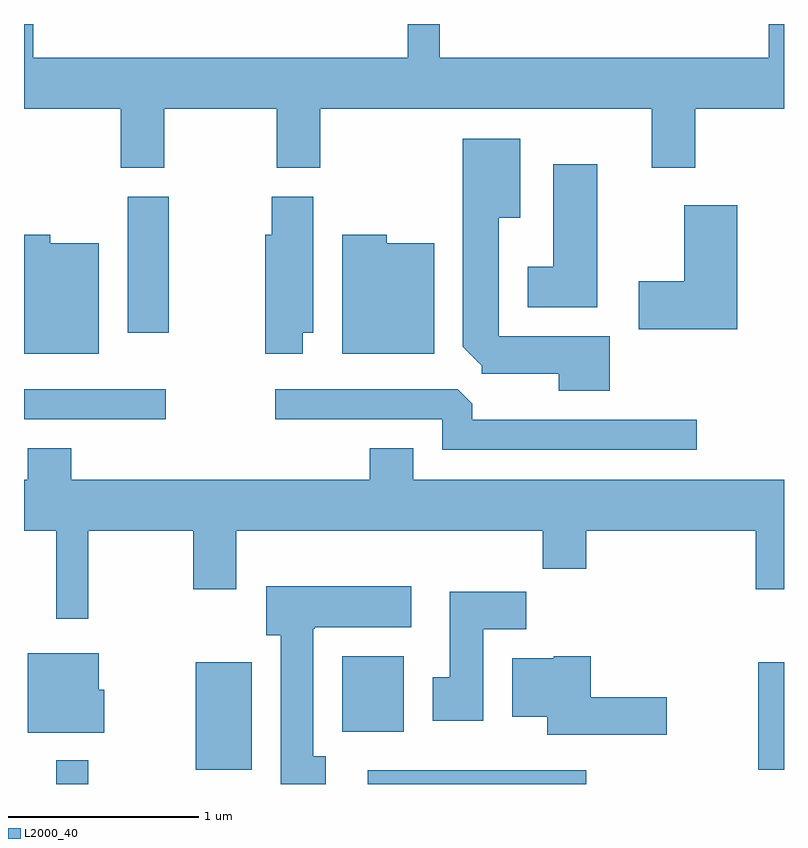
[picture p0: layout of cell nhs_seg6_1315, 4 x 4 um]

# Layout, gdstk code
import gdstk
lib = gdstk.Library(unit=1e-6, precision=1e-09)
def R(c, l, rs):  # rectangles x0, y0, x1, y1
    for r in rs: c.add(gdstk.rectangle(r[:2], r[2:], *l))
def P(c, l, *ps):  # polygons
    for p in ps: c.add(gdstk.Polygon(p, *l))
L2000_40 = (2000, 40)

nhs_seg6_1315 = lib.new_cell('nhs_seg6_1315')
R(nhs_seg6_1315, L2000_40, [(223.781,1644.162,223.949,1644.288), (225.421,1644.162,226.569,1644.234), (224.516,1644.236,224.809,1644.804), (227.476,1644.236,227.611,1644.804), (225.286,1644.436,225.609,1644.834), (223.611,1646.081,224.358,1646.239), (224.156,1646.536,224.374,1647.254)])
P(nhs_seg6_1315, L2000_40, [(224.349,1647.716),(224.941,1647.716),(224.941,1647.406),(225.169,1647.406),(225.169,1647.716),(226.916,1647.716),(226.916,1647.406),(227.144,1647.406),(227.144,1647.716),(227.611,1647.716),(227.611,1648.162),(227.531,1648.162),(227.531,1647.984),(225.799,1647.984),(225.799,1648.162),(225.631,1648.162),(225.631,1647.984),(223.659,1647.984),(223.659,1648.162),(223.611,1648.162),(223.611,1647.716),(224.121,1647.716),(224.121,1647.406),(224.349,1647.406)],
  [(226.694,1646.519),(226.109,1646.519),(226.109,1647.141),(226.224,1647.141),(226.224,1647.559),(225.921,1647.559),(225.921,1646.464),(226.021,1646.364),(226.021,1646.321),(226.426,1646.321),(226.426,1646.231),(226.694,1646.231)],
  [(226.629,1647.424),(226.396,1647.424),(226.396,1646.884),(226.261,1646.884),(226.261,1646.671),(226.629,1646.671)],
  [(225.079,1646.536),(225.134,1646.536),(225.134,1647.254),(224.916,1647.254),(224.916,1647.054),(224.881,1647.054),(224.881,1646.426),(225.079,1646.426)],
  [(227.364,1647.209),(227.086,1647.209),(227.086,1646.809),(226.846,1646.809),(226.846,1646.556),(227.364,1646.556)],
  [(224.004,1647.009),(223.749,1647.009),(223.749,1647.054),(223.611,1647.054),(223.611,1646.426),(224.004,1646.426)],
  [(225.769,1647.009),(225.519,1647.009),(225.519,1647.054),(225.286,1647.054),(225.286,1646.426),(225.769,1646.426)],
  [(227.153,1646.079),(225.969,1646.079),(225.969,1646.164),(225.894,1646.239),(224.933,1646.239),(224.933,1646.081),(225.811,1646.081),(225.811,1645.921),(227.153,1645.921)],
  [(223.949,1645.496),(224.501,1645.496),(224.501,1645.186),(224.729,1645.186),(224.729,1645.496),(226.341,1645.496),(226.341,1645.296),(226.569,1645.296),(226.569,1645.496),(227.461,1645.496),(227.461,1645.186),(227.611,1645.186),(227.611,1645.764),(225.659,1645.764),(225.659,1645.929),(225.431,1645.929),(225.431,1645.764),(223.859,1645.764),(223.859,1645.929),(223.631,1645.929),(223.631,1645.764),(223.611,1645.764),(223.611,1645.496),(223.781,1645.496),(223.781,1645.033),(223.949,1645.033)],
  [(225.198,1644.309),(225.134,1644.309),(225.134,1644.98),(225.14,1644.98),(225.14,1644.986),(225.649,1644.986),(225.649,1645.204),(224.886,1645.204),(224.886,1644.946),(224.961,1644.946),(224.961,1644.162),(225.198,1644.162)],
  [(226.029,1644.976),(226.254,1644.976),(226.254,1645.174),(225.851,1645.174),(225.851,1644.724),(225.761,1644.724),(225.761,1644.496),(226.029,1644.496)],
  [(224.034,1644.659),(224.004,1644.659),(224.004,1644.849),(223.631,1644.849),(223.631,1644.431),(224.034,1644.431)],
  [(226.994,1644.619),(226.594,1644.619),(226.594,1644.834),(226.4,1644.834),(226.4,1644.824),(226.181,1644.824),(226.181,1644.516),(226.366,1644.516),(226.366,1644.421),(226.994,1644.421)])

lib.write_gds('nhs_seg6_1315.gds')
